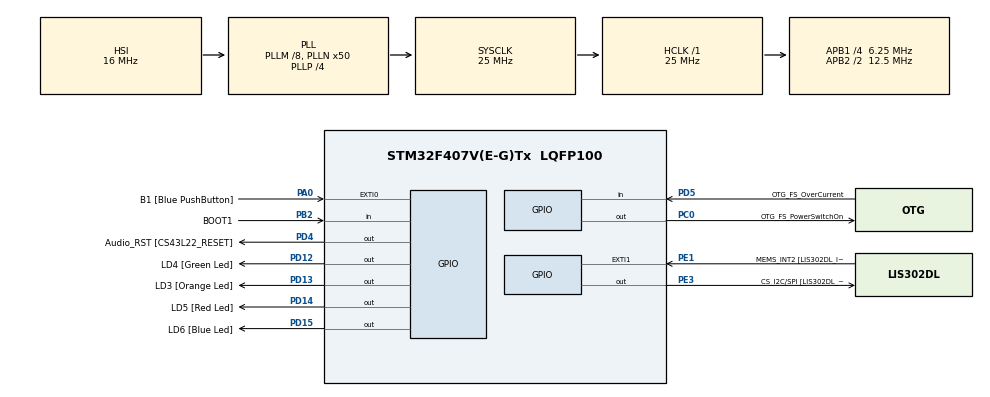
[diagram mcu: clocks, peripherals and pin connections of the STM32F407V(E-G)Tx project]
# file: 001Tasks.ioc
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FREERTOS.Tasks01=defaultTask,24,128,StartDefaultTask,Default,NULL,Dynamic,NULL,NULL
Mcu.Family=STM32F4
Mcu.Name=STM32F407V(E-G)Tx
Mcu.Package=LQFP100
NVIC.PriorityGroup=NVIC_PRIORITYGROUP_4
NVIC.TIM4_IRQn=true\:15\:0\:false\:false\:true\:false\:false\:true\:true
NVIC.TimeBase=TIM4_IRQn
NVIC.TimeBaseIP=TIM4
PA0-WKUP.GPIO_Label=B1 [Blue PushButton]
PA0-WKUP.Signal=GPXTI0
PA10.GPIO_Label=OTG_FS_ID
PA10.GPIO_Mode=GPIO_MODE_AF_PP
PA10.GPIO_PuPd=GPIO_NOPULL
PA10.GPIO_Speed=GPIO_SPEED_FREQ_LOW
PA10.Signal=USB_OTG_FS_ID
PA11.GPIO_Label=OTG_FS_DM
PA11.GPIO_Mode=GPIO_MODE_AF_PP
PA11.GPIO_PuPd=GPIO_NOPULL
PA11.GPIO_Speed=GPIO_SPEED_FREQ_LOW
PA11.Signal=USB_OTG_FS_DM
PA12.GPIO_Label=OTG_FS_DP
PA12.GPIO_Mode=GPIO_MODE_AF_PP
PA12.GPIO_PuPd=GPIO_NOPULL
PA12.GPIO_Speed=GPIO_SPEED_FREQ_LOW
PA12.Signal=USB_OTG_FS_DP
PA13.GPIO_Label=SWDIO
PA13.Signal=SYS_JTMS-SWDIO
PA14.GPIO_Label=SWCLK
PA14.Signal=SYS_JTCK-SWCLK
PA4.GPIO_Label=I2S3_WS [CS43L22_LRCK]
PA4.GPIO_Mode=GPIO_MODE_AF_PP
PA4.GPIO_PuPd=GPIO_NOPULL
PA4.GPIO_Speed=GPIO_SPEED_FREQ_LOW
PA4.Signal=I2S3_WS
PA5.GPIO_Label=SPI1_SCK [LIS302DL_SCL/SPC]
PA5.GPIO_Mode=GPIO_MODE_AF_PP
PA5.GPIO_PuPd=GPIO_NOPULL
PA5.GPIO_Speed=GPIO_SPEED_FREQ_LOW
PA5.Signal=SPI1_SCK
PA6.GPIO_Label=SPI1_MISO [LIS302DL_SDO]
PA6.GPIO_Mode=GPIO_MODE_AF_PP
PA6.GPIO_PuPd=GPIO_NOPULL
PA6.GPIO_Speed=GPIO_SPEED_FREQ_LOW
PA6.Signal=SPI1_MISO
PA7.GPIO_Label=SPI1_MOSI [LIS302DL_SDA/SDI/SDO]
PA7.GPIO_Mode=GPIO_MODE_AF_PP
PA7.GPIO_PuPd=GPIO_NOPULL
PA7.GPIO_Speed=GPIO_SPEED_FREQ_LOW
PA7.Signal=SPI1_MOSI
PA9.GPIO_Label=VBUS_FS
PA9.GPIO_Mode=GPIO_MODE_INPUT
PA9.GPIO_PuPd=GPIO_NOPULL
PA9.Signal=USB_OTG_FS_VBUS
PB10.GPIO_Label=CLK_IN [MP45DT02_CLK]
PB10.GPIO_Mode=GPIO_MODE_AF_PP
PB10.GPIO_PuPd=GPIO_NOPULL
PB10.GPIO_Speed=GPIO_SPEED_FREQ_LOW
PB10.Signal=I2S2_CK
PB2.GPIO_Label=BOOT1
PB2.GPIO_Mode=GPIO_MODE_INPUT
PB2.GPIO_PuPd=GPIO_NOPULL
PB2.Signal=GPIO_Input
PB3.GPIO_Label=SWO
PB3.Signal=SYS_JTDO-SWO
PB6.GPIO_Label=Audio_SCL [CS43L22_SCL]
PB6.GPIO_Mode=GPIO_MODE_AF_OD
PB6.GPIO_PuPd=GPIO_NOPULL
PB6.GPIO_Speed=GPIO_SPEED_FREQ_LOW
PB6.Signal=I2C1_SCL
PB9.GPIO_Label=Audio_SDA [CS43L22_SDA]
PB9.GPIO_Mode=GPIO_MODE_AF_OD
PB9.GPIO_PuPd=GPIO_NOPULL
PB9.GPIO_Speed=GPIO_SPEED_FREQ_LOW
PB9.Signal=I2C1_SDA
PC0.GPIO_Label=OTG_FS_PowerSwitchOn
PC0.GPIO_PuPd=GPIO_NOPULL
PC0.GPIO_Speed=GPIO_SPEED_FREQ_LOW
PC0.PinState=GPIO_PIN_SET
PC0.Signal=GPIO_Output
PC10.GPIO_Label=I2S3_SCK [CS43L22_SCLK]
PC10.GPIO_Mode=GPIO_MODE_AF_PP
PC10.GPIO_PuPd=GPIO_NOPULL
PC10.GPIO_Speed=GPIO_SPEED_FREQ_LOW
PC10.Signal=I2S3_CK
PC12.GPIO_Label=I2S3_SD [CS43L22_SDIN]
PC12.GPIO_Mode=GPIO_MODE_AF_PP
PC12.GPIO_PuPd=GPIO_NOPULL
PC12.GPIO_Speed=GPIO_SPEED_FREQ_LOW
PC12.Signal=I2S3_SD
PC14-OSC32_IN.GPIO_Label=PC14-OSC32_IN
PC14-OSC32_IN.Signal=RCC_OSC32_IN
PC15-OSC32_OUT.GPIO_Label=PC15-OSC32_OUT
PC15-OSC32_OUT.Signal=RCC_OSC32_OUT
PC3.GPIO_Label=PDM_OUT [MP45DT02_DOUT]
PC3.GPIO_Mode=GPIO_MODE_AF_PP
PC3.GPIO_PuPd=GPIO_NOPULL
PC3.GPIO_Speed=GPIO_SPEED_FREQ_LOW
PC3.Signal=I2S2_SD
PC7.GPIO_Label=I2S3_MCK [CS43L22_MCLK]
PC7.GPIO_Mode=GPIO_MODE_AF_PP
PC7.GPIO_PuPd=GPIO_NOPULL
PC7.GPIO_Speed=GPIO_SPEED_FREQ_LOW
PC7.Signal=I2S3_MCK
PD12.GPIO_Label=LD4 [Green Led]
PD12.GPIO_PuPd=GPIO_NOPULL
PD12.GPIO_Speed=GPIO_SPEED_FREQ_LOW
PD12.Signal=GPIO_Output
PD13.GPIO_Label=LD3 [Orange Led]
PD13.GPIO_PuPd=GPIO_NOPULL
PD13.GPIO_Speed=GPIO_SPEED_FREQ_LOW
PD13.Signal=GPIO_Output
PD14.GPIO_Label=LD5 [Red Led]
PD14.GPIO_PuPd=GPIO_NOPULL
PD14.GPIO_Speed=GPIO_SPEED_FREQ_LOW
PD14.Signal=GPIO_Output
PD15.GPIO_Label=LD6 [Blue Led]
PD15.GPIO_PuPd=GPIO_NOPULL
PD15.GPIO_Speed=GPIO_SPEED_FREQ_LOW
PD15.Signal=GPIO_Output
PD4.GPIO_Label=Audio_RST [CS43L22_RESET]
PD4.GPIO_PuPd=GPIO_NOPULL
PD4.GPIO_Speed=GPIO_SPEED_FREQ_LOW
PD4.Signal=GPIO_Output
PD5.GPIO_Label=OTG_FS_OverCurrent
PD5.GPIO_Mode=GPIO_MODE_INPUT
PD5.GPIO_PuPd=GPIO_NOPULL
PD5.Signal=GPIO_Input
PE1.GPIO_Label=MEMS_INT2 [LIS302DL_INT2]
PE1.GPIO_ModeDefaultEXTI=GPIO_MODE_EVT_RISING
PE1.GPIO_PuPd=GPIO_NOPULL
PE1.Signal=GPXTI1
PE3.GPIO_Label=CS_I2C/SPI [LIS302DL_CS_I2C/SPI]
PE3.GPIO_PuPd=GPIO_NOPULL
PE3.GPIO_Speed=GPIO_SPEED_FREQ_LOW
PE3.Signal=GPIO_Output
PH0-OSC_IN.GPIO_Label=PH0-OSC_IN
PH0-OSC_IN.Signal=RCC_OSC_IN
PH1-OSC_OUT.GPIO_Label=PH1-OSC_OUT
PH1-OSC_OUT.Signal=RCC_OSC_OUT
ProjectManager.HeapSize=0x200
ProjectManager.StackSize=0x400
ProjectManager.TargetToolchain=STM32CubeIDE
RCC.48MHZClocksFreq_Value=14285714.285714285
RCC.AHBFreq_Value=25000000
RCC.APB1CLKDivider=RCC_HCLK_DIV4
RCC.APB1Freq_Value=6250000
RCC.APB1TimFreq_Value=12500000
RCC.APB2CLKDivider=RCC_HCLK_DIV2
RCC.APB2Freq_Value=12500000
RCC.APB2TimFreq_Value=25000000
RCC.CortexFreq_Value=25000000
RCC.HCLKFreq_Value=25000000
RCC.HSE_VALUE=8000000
RCC.HSI_VALUE=16000000
RCC.LSE_VALUE=32768
RCC.PLLM=8
RCC.PLLN=50
RCC.PLLP=RCC_PLLP_DIV4
RCC.PLLQ=7
RCC.SYSCLKFreq_VALUE=25000000
RCC.SYSCLKSource=RCC_SYSCLKSOURCE_PLLCLK
RCC.VCOOutputFreq_Value=100000000
VP_FREERTOS_VS_CMSIS_V2.Mode=CMSIS_V2
VP_SYS_VS_tim4.Mode=TIM4
board=STM32F407G-DISC1

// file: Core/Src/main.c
/* USER CODE BEGIN Header */
/**
  ******************************************************************************
  * @file           : main.c
  * @brief          : Main program body
  ******************************************************************************
  * @attention
  *
  * Copyright (c) 2025 STMicroelectronics.
  * All rights reserved.
  *
  * This software is licensed under terms that can be found in the LICENSE file
  * in the root directory of this software component.
  * If no LICENSE file comes with this software, it is provided AS-IS.
  *
  ******************************************************************************
  */
/* USER CODE END Header */
#include "main.h"
#include "cmsis_os.h"

/* USER CODE BEGIN Includes */
#include <stdio.h>
#include <FreeRTOS.h>
#include <task.h>
#include <stdint.h>

/* USER CODE END Includes */

/* Definitions for defaultTask */
osThreadId_t defaultTaskHandle;
const osThreadAttr_t defaultTask_attributes = {
  .name = "defaultTask",
  .stack_size = 128 * 4,
  .priority = (osPriority_t) osPriorityNormal,
};
/* USER CODE BEGIN PV */
#define DWT_CTRL	(*(volatile uint32_t*) 0xE0001000)
/* USER CODE END PV */

void SystemClock_Config(void);
static void MX_GPIO_Init(void);
void StartDefaultTask(void *argument);

/* USER CODE BEGIN PFP */

static void task1_handler(void* parameters);
static void task2_handler(void* parameters);

/* USER CODE END PFP */

int main(void)
{

  /* USER CODE BEGIN 1 */

	TaskHandle_t task1_handle;
	TaskHandle_t task2_handle;
	BaseType_t status;

  /* USER CODE END 1 */

  /* MCU Configuration--------------------------------------------------------*/

  /* Reset of all peripherals, Initializes the Flash interface and the Systick. */
  HAL_Init();

  /* Configure the system clock */
  SystemClock_Config();

  /* Initialize all configured peripherals */
  MX_GPIO_Init();
  /* USER CODE BEGIN 2 */

  //Enable the CYCCNT counter
  DWT_CTRL |= (1 << 0);

  SEGGER_SYSVIEW_Conf();

  SEGGER_SYSVIEW_Start();

  status = xTaskCreate(task1_handler, "Task-1", 200, "Hello world from Task-1", 2, &task1_handle);

  configASSERT(status = pdPASS);

  status = xTaskCreate(task2_handler, "Task-2", 200, "Hello world from Task-2", 2, &task2_handle);

  configASSERT(status = pdPASS);

  // start the freeRTOS scheduler
  vTaskStartScheduler();

  //if the control comes here then the launch of the scheduleer has failed due to insufficient memory in
  // the heap

  /* USER CODE END 2 */

  /* Init scheduler */
  osKernelInitialize();

  /* Create the thread(s) */
  /* creation of defaultTask */
  defaultTaskHandle = osThreadNew(StartDefaultTask, NULL, &defaultTask_attributes);

  /* Start scheduler */
  osKernelStart();

  /* We should never get here as control is now taken by the scheduler */

  /* Infinite loop */
  while (1)
  {

  }
}

void SystemClock_Config(void)
{
  RCC_OscInitTypeDef RCC_OscInitStruct = {0};
  RCC_ClkInitTypeDef RCC_ClkInitStruct = {0};

  /** Configure the main internal regulator output voltage
  */
  __HAL_RCC_PWR_CLK_ENABLE();
  __HAL_PWR_VOLTAGESCALING_CONFIG(PWR_REGULATOR_VOLTAGE_SCALE1);

  /** Initializes the RCC Oscillators according to the specified parameters
  * in the RCC_OscInitTypeDef structure.
  */
  RCC_OscInitStruct.OscillatorType = RCC_OSCILLATORTYPE_HSI;
  RCC_OscInitStruct.HSIState = RCC_HSI_ON;
  RCC_OscInitStruct.HSICalibrationValue = RCC_HSICALIBRATION_DEFAULT;
  RCC_OscInitStruct.PLL.PLLState = RCC_PLL_ON;
  RCC_OscInitStruct.PLL.PLLSource = RCC_PLLSOURCE_HSI;
  RCC_OscInitStruct.PLL.PLLM = 8;
  RCC_OscInitStruct.PLL.PLLN = 50;
  RCC_OscInitStruct.PLL.PLLP = RCC_PLLP_DIV4;
  RCC_OscInitStruct.PLL.PLLQ = 7;
  if (HAL_RCC_OscConfig(&RCC_OscInitStruct) != HAL_OK)
  {
    Error_Handler();
  }

  /** Initializes the CPU, AHB and APB buses clocks
  */
  RCC_ClkInitStruct.ClockType = RCC_CLOCKTYPE_HCLK|RCC_CLOCKTYPE_SYSCLK
                              |RCC_CLOCKTYPE_PCLK1|RCC_CLOCKTYPE_PCLK2;
  RCC_ClkInitStruct.SYSCLKSource = RCC_SYSCLKSOURCE_PLLCLK;
  RCC_ClkInitStruct.AHBCLKDivider = RCC_SYSCLK_DIV1;
  RCC_ClkInitStruct.APB1CLKDivider = RCC_HCLK_DIV4;
  RCC_ClkInitStruct.APB2CLKDivider = RCC_HCLK_DIV2;

  if (HAL_RCC_ClockConfig(&RCC_ClkInitStruct, FLASH_LATENCY_0) != HAL_OK)
  {
    Error_Handler();
  }
}

static void MX_GPIO_Init(void)
{
  GPIO_InitTypeDef GPIO_InitStruct = {0};

  /* GPIO Ports Clock Enable */
  __HAL_RCC_GPIOE_CLK_ENABLE();
  __HAL_RCC_GPIOC_CLK_ENABLE();
  __HAL_RCC_GPIOH_CLK_ENABLE();
  __HAL_RCC_GPIOA_CLK_ENABLE();
  __HAL_RCC_GPIOB_CLK_ENABLE();
  __HAL_RCC_GPIOD_CLK_ENABLE();

  /*Configure GPIO pin Output Level */
  HAL_GPIO_WritePin(CS_I2C_SPI_GPIO_Port, CS_I2C_SPI_Pin, GPIO_PIN_RESET);

  /*Configure GPIO pin Output Level */
  HAL_GPIO_WritePin(OTG_FS_PowerSwitchOn_GPIO_Port, OTG_FS_PowerSwitchOn_Pin, GPIO_PIN_SET);

  /*Configure GPIO pin Output Level */
  HAL_GPIO_WritePin(GPIOD, LD4_Pin|LD3_Pin|LD5_Pin|LD6_Pin
                          |Audio_RST_Pin, GPIO_PIN_RESET);

  /*Configure GPIO pin : CS_I2C_SPI_Pin */
  GPIO_InitStruct.Pin = CS_I2C_SPI_Pin;
  GPIO_InitStruct.Mode = GPIO_MODE_OUTPUT_PP;
  GPIO_InitStruct.Pull = GPIO_NOPULL;
  GPIO_InitStruct.Speed = GPIO_SPEED_FREQ_LOW;
  HAL_GPIO_Init(CS_I2C_SPI_GPIO_Port, &GPIO_InitStruct);

  /*Configure GPIO pin : OTG_FS_PowerSwitchOn_Pin */
  GPIO_InitStruct.Pin = OTG_FS_PowerSwitchOn_Pin;
  GPIO_InitStruct.Mode = GPIO_MODE_OUTPUT_PP;
  GPIO_InitStruct.Pull = GPIO_NOPULL;
  GPIO_InitStruct.Speed = GPIO_SPEED_FREQ_LOW;
  HAL_GPIO_Init(OTG_FS_PowerSwitchOn_GPIO_Port, &GPIO_InitStruct);

  /*Configure GPIO pin : PDM_OUT_Pin */
  GPIO_InitStruct.Pin = PDM_OUT_Pin;
  GPIO_InitStruct.Mode = GPIO_MODE_AF_PP;
  GPIO_InitStruct.Pull = GPIO_NOPULL;
  GPIO_InitStruct.Speed = GPIO_SPEED_FREQ_LOW;
  GPIO_InitStruct.Alternate = GPIO_AF5_SPI2;
  HAL_GPIO_Init(PDM_OUT_GPIO_Port, &GPIO_InitStruct);

  /*Configure GPIO pin : B1_Pin */
  GPIO_InitStruct.Pin = B1_Pin;
  GPIO_InitStruct.Mode = GPIO_MODE_IT_RISING;
  GPIO_InitStruct.Pull = GPIO_NOPULL;
  HAL_GPIO_Init(B1_GPIO_Port, &GPIO_InitStruct);

  /*Configure GPIO pin : I2S3_WS_Pin */
  GPIO_InitStruct.Pin = I2S3_WS_Pin;
  GPIO_InitStruct.Mode = GPIO_MODE_AF_PP;
  GPIO_InitStruct.Pull = GPIO_NOPULL;
  GPIO_InitStruct.Speed = GPIO_SPEED_FREQ_LOW;
  GPIO_InitStruct.Alternate = GPIO_AF6_SPI3;
  HAL_GPIO_Init(I2S3_WS_GPIO_Port, &GPIO_InitStruct);

  /*Configure GPIO pins : SPI1_SCK_Pin SPI1_MISO_Pin SPI1_MOSI_Pin */
  GPIO_InitStruct.Pin = SPI1_SCK_Pin|SPI1_MISO_Pin|SPI1_MOSI_Pin;
  GPIO_InitStruct.Mode = GPIO_MODE_AF_PP;
  GPIO_InitStruct.Pull = GPIO_NOPULL;
  GPIO_InitStruct.Speed = GPIO_SPEED_FREQ_LOW;
  GPIO_InitStruct.Alternate = GPIO_AF5_SPI1;
  HAL_GPIO_Init(GPIOA, &GPIO_InitStruct);

  /*Configure GPIO pin : BOOT1_Pin */
  GPIO_InitStruct.Pin = BOOT1_Pin;
  GPIO_InitStruct.Mode = GPIO_MODE_INPUT;
  GPIO_InitStruct.Pull = GPIO_NOPULL;
  HAL_GPIO_Init(BOOT1_GPIO_Port, &GPIO_InitStruct);

  /*Configure GPIO pin : CLK_IN_Pin */
  GPIO_InitStruct.Pin = CLK_IN_Pin;
  GPIO_InitStruct.Mode = GPIO_MODE_AF_PP;
  GPIO_InitStruct.Pull = GPIO_NOPULL;
  GPIO_InitStruct.Speed = GPIO_SPEED_FREQ_LOW;
  GPIO_InitStruct.Alternate = GPIO_AF5_SPI2;
  HAL_GPIO_Init(CLK_IN_GPIO_Port, &GPIO_InitStruct);

  /*Configure GPIO pins : LD4_Pin LD3_Pin LD5_Pin LD6_Pin
                           Audio_RST_Pin */
  GPIO_InitStruct.Pin = LD4_Pin|LD3_Pin|LD5_Pin|LD6_Pin
                          |Audio_RST_Pin;
  GPIO_InitStruct.Mode = GPIO_MODE_OUTPUT_PP;
  GPIO_InitStruct.Pull = GPIO_NOPULL;
  GPIO_InitStruct.Speed = GPIO_SPEED_FREQ_LOW;
  HAL_GPIO_Init(GPIOD, &GPIO_InitStruct);

  /*Configure GPIO pins : I2S3_MCK_Pin I2S3_SCK_Pin I2S3_SD_Pin */
  GPIO_InitStruct.Pin = I2S3_MCK_Pin|I2S3_SCK_Pin|I2S3_SD_Pin;
  GPIO_InitStruct.Mode = GPIO_MODE_AF_PP;
  GPIO_InitStruct.Pull = GPIO_NOPULL;
  GPIO_InitStruct.Speed = GPIO_SPEED_FREQ_LOW;
  GPIO_InitStruct.Alternate = GPIO_AF6_SPI3;
  HAL_GPIO_Init(GPIOC, &GPIO_InitStruct);

  /*Configure GPIO pin : VBUS_FS_Pin */
  GPIO_InitStruct.Pin = VBUS_FS_Pin;
  GPIO_InitStruct.Mode = GPIO_MODE_INPUT;
  GPIO_InitStruct.Pull = GPIO_NOPULL;
  HAL_GPIO_Init(VBUS_FS_GPIO_Port, &GPIO_InitStruct);

  /*Configure GPIO pins : OTG_FS_ID_Pin OTG_FS_DM_Pin OTG_FS_DP_Pin */
  GPIO_InitStruct.Pin = OTG_FS_ID_Pin|OTG_FS_DM_Pin|OTG_FS_DP_Pin;
  GPIO_InitStruct.Mode = GPIO_MODE_AF_PP;
  GPIO_InitStruct.Pull = GPIO_NOPULL;
  GPIO_InitStruct.Speed = GPIO_SPEED_FREQ_LOW;
  GPIO_InitStruct.Alternate = GPIO_AF10_OTG_FS;
  HAL_GPIO_Init(GPIOA, &GPIO_InitStruct);

  /*Configure GPIO pin : OTG_FS_OverCurrent_Pin */
  GPIO_InitStruct.Pin = OTG_FS_OverCurrent_Pin;
  GPIO_InitStruct.Mode = GPIO_MODE_INPUT;
  GPIO_InitStruct.Pull = GPIO_NOPULL;
  HAL_GPIO_Init(OTG_FS_OverCurrent_GPIO_Port, &GPIO_InitStruct);

  /*Configure GPIO pins : Audio_SCL_Pin Audio_SDA_Pin */
  GPIO_InitStruct.Pin = Audio_SCL_Pin|Audio_SDA_Pin;
  GPIO_InitStruct.Mode = GPIO_MODE_AF_OD;
  GPIO_InitStruct.Pull = GPIO_NOPULL;
  GPIO_InitStruct.Speed = GPIO_SPEED_FREQ_LOW;
  GPIO_InitStruct.Alternate = GPIO_AF4_I2C1;
  HAL_GPIO_Init(GPIOB, &GPIO_InitStruct);

  /*Configure GPIO pin : MEMS_INT2_Pin */
  GPIO_InitStruct.Pin = MEMS_INT2_Pin;
  GPIO_InitStruct.Mode = GPIO_MODE_EVT_RISING;
  GPIO_InitStruct.Pull = GPIO_NOPULL;
  HAL_GPIO_Init(MEMS_INT2_GPIO_Port, &GPIO_InitStruct);

}

/* USER CODE BEGIN 4 */
static void task1_handler(void* parameters)
{
	char msg[100];

	while(1)
	{
		snprintf(msg,100,"%s\n",(char*)parameters);
		SEGGER_SYSVIEW_PrintfTarget(msg);
		printf("%s \n", (char*)parameters);
		// give up processor
		taskYIELD();
	}

}

static void task2_handler(void* parameters)
{
	char msg[100];

	while(1)
	{
		snprintf(msg,100,"%s\n",(char*)parameters);
		SEGGER_SYSVIEW_PrintfTarget(msg);
		printf("%s \n", (char*)parameters);
		taskYIELD();
	}

}

/* USER CODE END 4 */

void StartDefaultTask(void *argument)
{
  for(;;)
  {
    osDelay(1);
  }
}

void HAL_TIM_PeriodElapsedCallback(TIM_HandleTypeDef *htim)
{
  if (htim->Instance == TIM4)
  {
    HAL_IncTick();
  }
}

void Error_Handler(void)
{
  __disable_irq();
  while (1)
  {
  }
}
